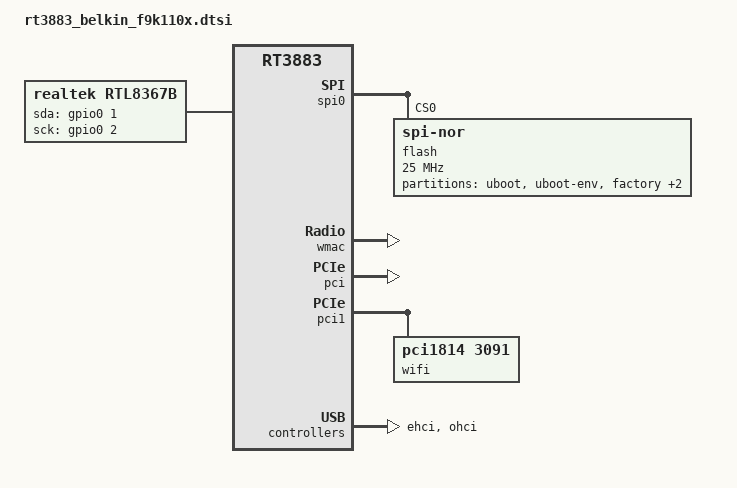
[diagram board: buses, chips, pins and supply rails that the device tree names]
// SPDX-License-Identifier: GPL-2.0-or-later OR MIT

#include "rt3883.dtsi"

#include <dt-bindings/gpio/gpio.h>
#include <dt-bindings/input/input.h>

/ {
	compatible = "ralink,rt3883-soc";

	rtl8367b {
		compatible = "realtek,rtl8367b";
		gpio-sda = <&gpio0 1 GPIO_ACTIVE_HIGH>;
		gpio-sck = <&gpio0 2 GPIO_ACTIVE_HIGH>;
		realtek,extif1 = <1 0 1 1 1 1 1 1 2>;
	};
};

&gpio1 {
	status = "okay";
};

&spi0 {
	status = "okay";

	flash@0 {
		compatible = "jedec,spi-nor";
		reg = <0>;
		spi-max-frequency = <25000000>;

		partitions {
			compatible = "fixed-partitions";
			#address-cells = <1>;
			#size-cells = <1>;

			partition@0 {
				label = "uboot";
				reg = <0x0 0x30000>;
				read-only;
			};

			partition@30000 {
				label = "uboot-env";
				reg = <0x30000 0x10000>;
				read-only;
			};

			factory: partition@40000 {
				label = "factory";
				reg = <0x40000 0x10000>;
				read-only;
			};

			partition@50000 {
				compatible = "denx,uimage";
				label = "firmware";
				reg = <0x50000 0x7a0000>;
			};

			partition@7f0000 {
				label = "user-cfg";
				reg = <0x7f0000 0x10000>;
				read-only;
			};
		};
	};
};

&ethernet {
	port@0 {
		mediatek,fixed-link = <1000 1 1 1>;
		phy-mode = "rgmii";
	};
};

&state_default {
	gpio {
		groups = "i2c", "jtag", "uartf";
		function = "gpio";
	};
};

&wmac {
	status = "okay";
	ralink,mtd-eeprom = <&factory 0x0>;
};

&pci {
	status = "okay";
};

&pci1 {
	status = "okay";

	wifi@1,0 {
		compatible = "pci1814,3091";
		reg = <0x10000 0 0 0 0>;
		ralink,5ghz = <0>;
		ralink,mtd-eeprom = <&factory 0x8000>;
	};
};

&ehci {
	status = "okay";
};

&ohci {
	status = "okay";
};
